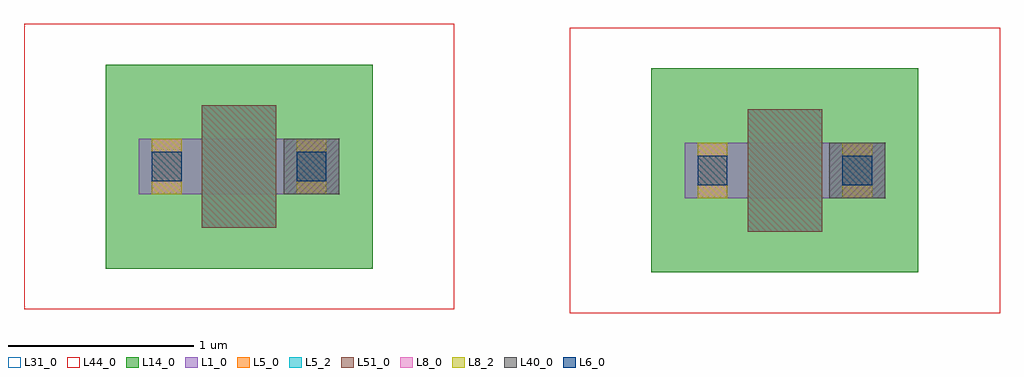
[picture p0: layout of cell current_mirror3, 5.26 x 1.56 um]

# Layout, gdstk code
import gdstk
lib = gdstk.Library(unit=1e-6, precision=5e-09)
def R(c, l, rs):  # rectangles x0, y0, x1, y1
    for r in rs: c.add(gdstk.rectangle(r[:2], r[2:], *l))
L1_0 = (1, 0)
L5_0 = (5, 0)
L5_2 = (5, 2)
L6_0 = (6, 0)
L8_0 = (8, 0)
L8_2 = (8, 2)
L14_0 = (14, 0)
L31_0 = (31, 0)
L40_0 = (40, 0)
L44_0 = (44, 0)
L51_0 = (51, 0)

pmoshv_3 = lib.new_cell('pmosHV$3')
R(pmoshv_3, L1_0, [(0,0,0.3,0.3), (0,0,1.08,0.3), (0.78,0,1.08,0.3)])
R(pmoshv_3, L5_0, [(0.34,-0.18,0.74,0.48)])
R(pmoshv_3, L5_2, [(0.34,-0.18,0.74,0.48)])
R(pmoshv_3, L6_0, [(0.07,0.07,0.23,0.23), (0.85,0.07,1.01,0.23)])
R(pmoshv_3, L8_0, [(0.07,0,0.23,0.3), (0.85,0,1.01,0.3)])
R(pmoshv_3, L8_2, [(0.07,0,0.23,0.3), (0.85,0,1.01,0.3)])
R(pmoshv_3, L14_0, [(-0.18,-0.4,1.26,0.7)])
R(pmoshv_3, L31_0, [(-0.62,-0.62,1.7,0.92)])
R(pmoshv_3, L40_0, [(0.78,0,1.08,0.3)])
R(pmoshv_3, L44_0, [(-0.62,-0.62,1.7,0.92)])
R(pmoshv_3, L51_0, [(0.34,-0.18,0.74,0.48)])
pmoshv_3.add(gdstk.Label('pmosHV', (0.54,0.15), layer=63, texttype=0))
pmoshv_3.add(gdstk.Label('pmos', (0.54,0.15), layer=51, texttype=0))

current_mirror3 = lib.new_cell('current_mirror3')
current_mirror3.add(gdstk.Reference(pmoshv_3, (2.635,3.11)))
current_mirror3.add(gdstk.Reference(pmoshv_3, (-0.31,3.13)))

lib.write_gds('current_mirror3.gds')
